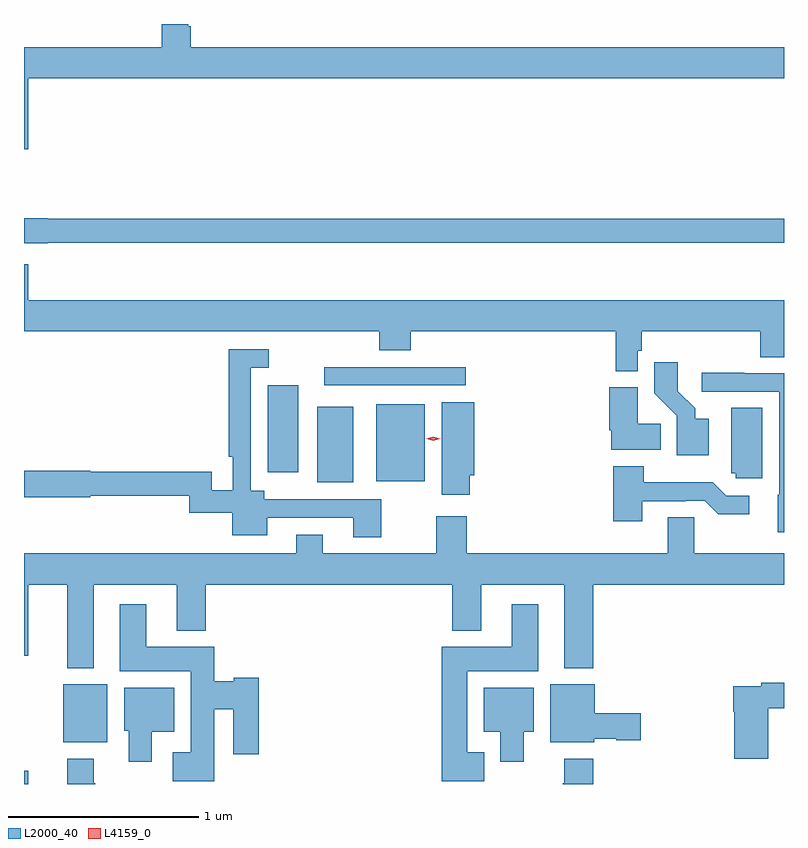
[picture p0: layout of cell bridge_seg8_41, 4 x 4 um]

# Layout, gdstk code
import gdstk
lib = gdstk.Library(unit=1e-6, precision=1e-09)
def R(c, l, rs):  # rectangles x0, y0, x1, y1
    for r in rs: c.add(gdstk.rectangle(r[:2], r[2:], *l))
def P(c, l, *ps):  # polygons
    for p in ps: c.add(gdstk.Polygon(p, *l))
L2000_40 = (2000, 40)
L4159_0 = (4159, 0)

bridge_seg8_41 = lib.new_cell('bridge_seg8_41')
R(bridge_seg8_41, L2000_40, [(1016.298,1158.074,1016.32,1158.145), (1016.504,1158.293,1016.737,1158.598), (1017.842,1159.661,1018.03,1160.059), (1018.151,1159.667,1018.408,1160.074), (1017.581,1159.716,1017.742,1160.173), (1017.879,1160.172,1018.624,1160.268)])
P(bridge_seg8_41, L2000_40, [(1016.32,1161.788),(1020.298,1161.788),(1020.298,1161.952),(1017.176,1161.952),(1017.176,1162.062),(1017.162,1162.062),(1017.162,1162.074),(1017.023,1162.074),(1017.023,1161.952),(1016.298,1161.952),(1016.298,1161.414),(1016.32,1161.414)],
  [(1016.424,1160.922),(1020.298,1160.922),(1020.298,1161.05),(1016.424,1161.05),(1016.424,1161.051),(1016.298,1161.051),(1016.298,1160.921),(1016.424,1160.921)],
  [(1019.529,1160.355),(1019.549,1160.355),(1019.549,1160.456),(1020.173,1160.456),(1020.173,1160.32),(1020.298,1160.32),(1020.298,1160.62),(1016.32,1160.62),(1016.32,1160.809),(1016.298,1160.809),(1016.298,1160.456),(1018.169,1160.456),(1018.169,1160.357),(1018.334,1160.357),(1018.334,1160.456),(1019.413,1160.456),(1019.413,1160.246),(1019.529,1160.246)],
  [(1018.179,1159.572),(1017.562,1159.572),(1017.562,1159.618),(1017.492,1159.618),(1017.492,1160.265),(1017.586,1160.265),(1017.586,1160.361),(1017.376,1160.361),(1017.376,1159.796),(1017.396,1159.796),(1017.396,1159.619),(1017.285,1159.619),(1017.285,1159.718),(1016.646,1159.718),(1016.646,1159.724),(1016.298,1159.724),(1016.298,1159.582),(1016.646,1159.582),(1016.646,1159.59),(1017.169,1159.59),(1017.169,1159.502),(1017.395,1159.502),(1017.395,1159.382),(1017.577,1159.382),(1017.577,1159.476),(1018.031,1159.476),(1018.031,1159.374),(1018.179,1159.374)],
  [(1019.902,1159.996),(1019.83,1159.996),(1019.83,1160.051),(1019.74,1160.141),(1019.74,1160.293),(1019.614,1160.293),(1019.614,1160.13),(1019.733,1160.011),(1019.733,1159.803),(1019.902,1159.803)],
  [(1020.298,1160.235),(1020.089,1160.235),(1020.089,1160.238),(1019.865,1160.238),(1019.865,1160.139),(1020.273,1160.139),(1020.273,1159.596),(1020.266,1159.596),(1020.266,1159.4),(1020.298,1159.4)],
  [(1019.648,1159.97),(1019.527,1159.97),(1019.527,1160.161),(1019.378,1160.161),(1019.378,1159.936),(1019.39,1159.936),(1019.39,1159.832),(1019.648,1159.832)],
  [(1018.643,1159.7),(1018.669,1159.7),(1018.669,1160.083),(1018.496,1160.083),(1018.496,1159.596),(1018.643,1159.596)],
  [(1020.184,1160.054),(1020.02,1160.054),(1020.02,1159.71),(1020.045,1159.71),(1020.045,1159.683),(1020.184,1159.683)],
  [(1019.551,1159.563),(1019.78,1159.563),(1019.78,1159.566),(1019.88,1159.566),(1019.953,1159.493),(1020.115,1159.493),(1020.115,1159.59),(1019.994,1159.59),(1019.923,1159.661),(1019.559,1159.661),(1019.559,1159.747),(1019.399,1159.747),(1019.399,1159.458),(1019.551,1159.458)],
  [(1018.553,1158.881),(1018.705,1158.881),(1018.705,1159.124),(1019.141,1159.124),(1019.141,1158.683),(1019.294,1158.683),(1019.294,1159.124),(1020.298,1159.124),(1020.298,1159.288),(1019.826,1159.288),(1019.826,1159.478),(1019.687,1159.478),(1019.687,1159.288),(1018.628,1159.288),(1018.628,1159.483),(1018.468,1159.483),(1018.468,1159.288),(1017.871,1159.288),(1017.871,1159.387),(1017.731,1159.387),(1017.731,1159.288),(1016.298,1159.288),(1016.298,1158.75),(1016.32,1158.75),(1016.32,1159.124),(1016.525,1159.124),(1016.525,1158.683),(1016.665,1158.683),(1016.665,1159.124),(1017.101,1159.124),(1017.101,1158.881),(1017.254,1158.881),(1017.254,1159.124),(1018.553,1159.124)],
  [(1018.72,1158.241),(1018.63,1158.241),(1018.63,1158.668),(1019.005,1158.668),(1019.005,1159.021),(1018.865,1159.021),(1018.865,1158.796),(1018.496,1158.796),(1018.496,1158.089),(1018.72,1158.089)],
  [(1017.298,1158.467),(1017.398,1158.467),(1017.398,1158.231),(1017.533,1158.231),(1017.533,1158.632),(1017.402,1158.632),(1017.402,1158.614),(1017.298,1158.614),(1017.298,1158.796),(1016.941,1158.796),(1016.941,1159.021),(1016.801,1159.021),(1016.801,1158.668),(1017.176,1158.668),(1017.176,1158.241),(1017.081,1158.241),(1017.081,1158.089),(1017.298,1158.089)],
  [(1020.215,1158.472),(1020.298,1158.472),(1020.298,1158.608),(1020.178,1158.608),(1020.178,1158.588),(1020.032,1158.588),(1020.032,1158.455),(1020.037,1158.455),(1020.037,1158.207),(1020.215,1158.207)],
  [(1019.298,1158.311),(1019.415,1158.311),(1019.415,1158.304),(1019.545,1158.304),(1019.545,1158.446),(1019.302,1158.446),(1019.302,1158.598),(1019.069,1158.598),(1019.069,1158.293),(1019.298,1158.293)],
  [(1016.971,1158.35),(1017.088,1158.35),(1017.088,1158.58),(1016.825,1158.58),(1016.825,1158.354),(1016.849,1158.354),(1016.849,1158.192),(1016.971,1158.192)],
  [(1018.927,1158.35),(1018.981,1158.35),(1018.981,1158.58),(1018.718,1158.58),(1018.718,1158.35),(1018.805,1158.35),(1018.805,1158.192),(1018.927,1158.192)],
  [(1019.294,1158.208),(1019.141,1158.208),(1019.141,1158.077),(1019.134,1158.077),(1019.134,1158.074),(1019.294,1158.074)],
  [(1016.673,1158.077),(1016.665,1158.077),(1016.665,1158.208),(1016.525,1158.208),(1016.525,1158.074),(1016.673,1158.074)])
P(bridge_seg8_41, L4159_0, [(1018.453,1159.881),(1018.416,1159.891),(1018.415,1159.891),(1018.416,1159.891),(1018.453,1159.901),(1018.49,1159.892),(1018.49,1159.891),(1018.49,1159.891)])

lib.write_gds('bridge_seg8_41.gds')
